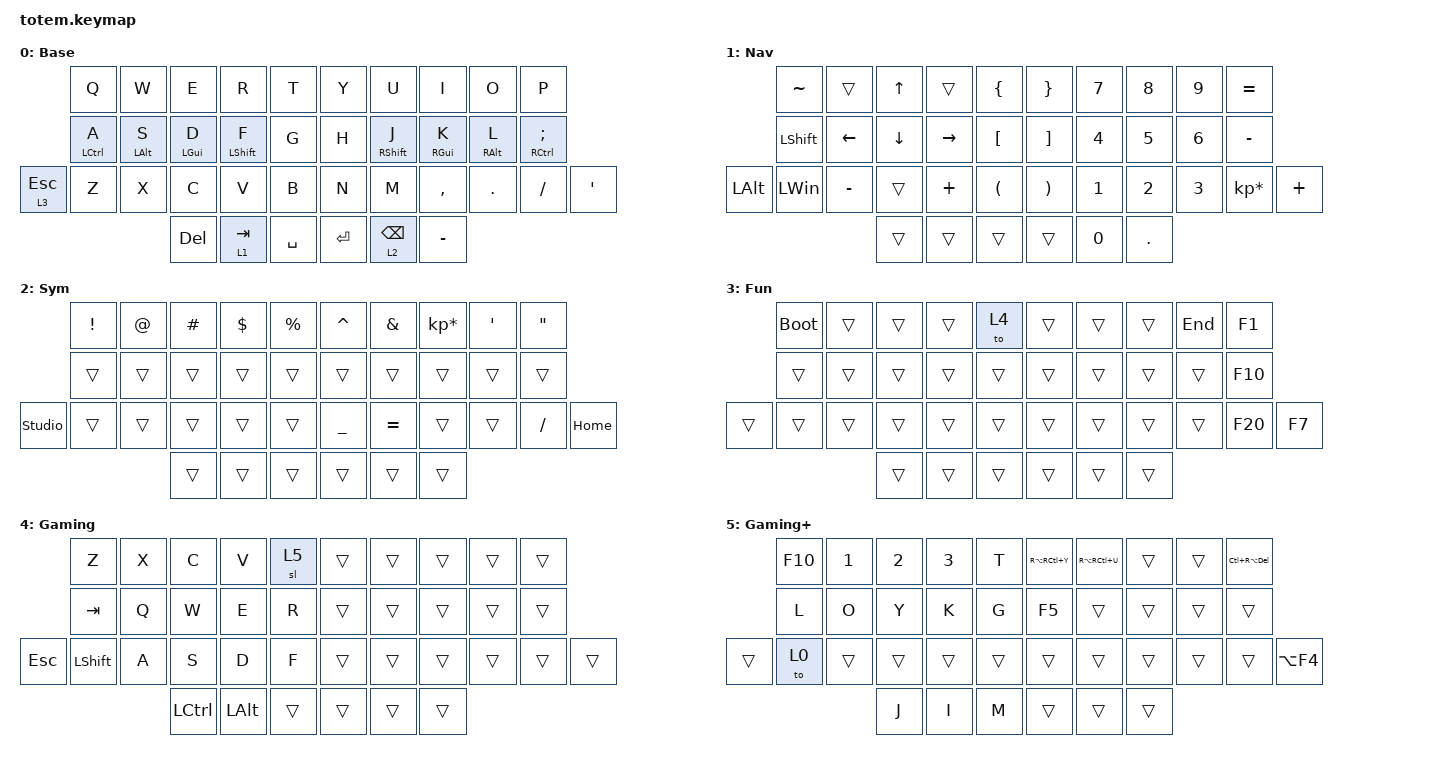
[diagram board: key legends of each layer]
//
//                                                        ▀▀▀▀▀     ▀▀▀▀▀          ▀▀█▀▀
//                                                        ▄▀▀▀▄  ▄  ▄▀▀▀▄  ▄  ▄▀▀▀▄  █  ▄▀▀▀▄
//                                                        █   █  █  █   █  █  █   █  █  █   █
//                                                         ▀▀▀   █   ▀▀▀   █   ▀▀▀   ▀   ▀▀▀
//                                                               █      ▄▄▄█▄▄▄    █   █  
//                                                               ▀      █  █  █     █▄█
//                                                             ▀▀▀▀▀    █  █  █      ▀
//                                                                      ▀  ▀  ▀
//
// ▄▄▄▄▄▄▄▄▄▄▄▄▄▄▄▄▄▄▄▄▄▄▄▄▄▄▄▄▄▄▄▄▄▄▄▄▄▄▄▄▄▄▄▄▄▄▄▄▄▄▄▄▄▄▄▄▄▄▄▄▄▄▄▄▄▄▄▄▄▄▄▄▄▄▄▄▄▄▄▄▄▄▄▄▄▄▄▄▄▄▄▄▄▄▄▄▄▄▄▄▄▄▄▄▄▄▄▄▄▄▄▄▄▄▄▄▄▄▄▄▄▄▄▄▄▄▄▄▄▄▄▄▄▄▄▄▄▄▄▄▄▄▄▄▄▄▄▄▄

#include <behaviors.dtsi>
#include <dt-bindings/zmk/keys.h>

#define Base        0
#define Nav         1
#define Sym         2
#define Fun         3
#define Game        4
#define Gameplus    5

&mt {
    quick-tap-ms = <100>;
    global-quick-tap;
    flavor = "tap-preferred";
    tapping-term-ms = <170>;
};

&lt {
    tapping-term-ms = <240>;
    flavor = "balanced";
    quick-tap-ms = <150>;
};

/ {
    behaviors {
        hm: homerow_mods {
            compatible = "zmk,behavior-hold-tap";
            label = "HOMEROW_MODS";
            #binding-cells = <2>;
            flavor = "tap-preferred";
            tapping-term-ms = <200>;
            quick-tap-ms = <125>;
            global-quick-tap;
            bindings = <&kp>, <&kp>;
        };
    };

    combos {
        compatible = "zmk,combos";

        enter {
            bindings = <&kp ENTER>;
            key-positions = <16 17 18>;
        };
    };

    keymap {
        compatible = "zmk,keymap";

        Base {
            display-name = "Base";
            bindings = <
              &kp Q               &kp W       &kp E       &kp R         &kp T        &kp Y    &kp U        &kp I       &kp O       &kp P
              &hm LEFT_CONTROL A  &hm LALT S  &hm LGUI D  &hm LSHIFT F  &kp G        &kp H    &hm RSHFT J  &hm RGUI K  &hm RALT L  &hm RIGHT_CONTROL SEMICOLON
&lt 3 ESCAPE  &kp Z               &kp X       &kp C       &kp V         &kp B        &kp N    &kp M        &kp COMMA   &kp DOT     &kp SLASH                    &kp APOSTROPHE
                                              &kp DEL     &lt 1 TAB     &kp SPACE    &kp RET  &lt 2 BSPC   &kp MINUS
            >;
        };

        Nav {
            display-name = "Nav";
            bindings = <
              &kp TILDE       &trans     &kp UP_ARROW  &trans     &kp LBRC    &kp RBRC  &kp NUMBER_7  &kp NUMBER_8  &kp NUMBER_9  &kp EQUAL
              &kp LEFT_SHIFT  &kp LEFT   &kp DOWN      &kp RIGHT  &kp LBKT    &kp RBKT  &kp NUMBER_4  &kp NUMBER_5  &kp NUMBER_6  &kp MINUS
&kp LEFT_ALT  &kp LEFT_WIN    &kp MINUS  &trans        &kp PLUS   &kp LPAR    &kp RPAR  &kp NUMBER_1  &kp NUMBER_2  &kp NUMBER_3  &kp KP_MULTIPLY  &kp PLUS
                                         &trans        &trans     &trans      &trans    &kp N0        &kp DOT
            >;
        };

        Sym {
            display-name = "Sym";
            bindings = <
                &kp EXCL  &kp AT  &kp HASH  &kp DOLLAR  &kp PERCENT    &kp CARET  &kp AMPERSAND  &kp KP_ASTERISK  &kp SQT  &kp DQT
                &trans    &trans  &trans    &trans      &trans         &trans     &trans         &trans           &trans   &trans
&studio_unlock  &trans    &trans  &trans    &trans      &trans         &kp UNDER  &kp EQUAL      &trans           &trans   &kp SLASH  &kp HOME
                                  &trans    &trans      &trans         &trans     &trans         &trans
            >;
        };

        Fun {
            display-name = "Fun";
            bindings = <
        &bootloader  &trans  &trans  &trans  &to 4     &trans  &trans  &trans  &kp END  &kp F1
        &trans       &trans  &trans  &trans  &trans    &trans  &trans  &trans  &trans   &kp F10
&trans  &trans       &trans  &trans  &trans  &trans    &trans  &trans  &trans  &trans   &kp F20  &kp F7
                             &trans  &trans  &trans    &trans  &trans  &trans
            >;
        };

        Gaming {
            display-name = "Gaming";
            bindings = <
            &kp Z           &kp X  &kp C      &kp V         &sl 5     &trans  &trans  &trans  &trans  &trans
            &kp TAB         &kp Q  &kp W      &kp E         &kp R     &trans  &trans  &trans  &trans  &trans
&kp ESCAPE  &kp LEFT_SHIFT  &kp A  &kp S      &kp D         &kp F     &trans  &trans  &trans  &trans  &trans  &trans
                                   &kp LCTRL  &kp LEFT_ALT  &trans    &trans  &trans  &trans
            >;
        };

        Gaming+ {
            display-name = "Gaming+";
            bindings = <
        &kp F10  &kp NUMBER_1  &kp NUMBER_2  &kp NUMBER_3  &kp T     &kp RA(RC(Y))  &kp RA(RC(U))  &trans  &trans  &kp LC(RA(DEL))
        &kp L    &kp O         &kp Y         &kp K         &kp G     &kp F5         &trans         &trans  &trans  &trans
&trans  &to 0    &trans        &trans        &trans        &trans    &trans         &trans         &trans  &trans  &trans           &kp LA(F4)
                               &kp J         &kp I         &kp M     &trans         &trans         &trans
            >;
        };
    };
};
